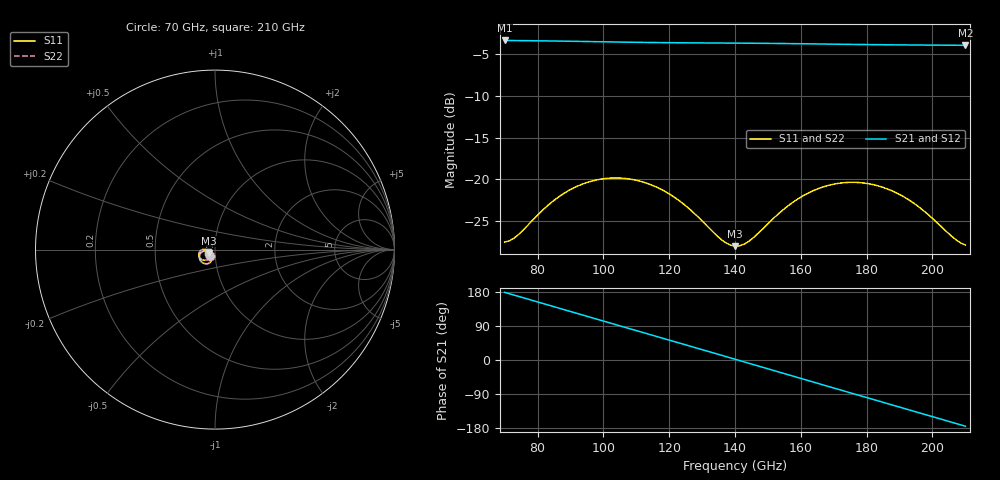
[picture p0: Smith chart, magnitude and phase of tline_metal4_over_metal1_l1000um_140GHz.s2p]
#  GHZ S DB R 50
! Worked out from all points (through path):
!   101 points, 70 GHz to 210 GHz, reference 50 ohm
!   highest |S21| = -3.33 dB at 70 GHz (marker M1); lowest = -3.9 dB at 210 GHz (marker M2)
!   group delay of S21, straight-line fit = 7.01 ps
!   lowest |S11| = -28.0 dB at 140 GHz (marker M3), VSWR 1.08, Z = 46.6 - j1.8 ohm
!   |S11| at or under -10 dB: start of sweep to end of sweep
!   |S22| runs from -28.0 to -19.8 dB; largest |S21 - S12| = 7.8e-14
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70  -27.52 -127.8  -3.33 178.5  -3.33 178.5  -27.53 -127.7
74.2  -26.63 -114.2  -3.35 168.0  -3.35 168.0  -26.63 -114.0
81.2  -23.83 -107.8  -3.38 150.3  -3.38 150.3  -23.82 -107.6
88.2  -21.64 -114.0  -3.42 132.6  -3.42 132.6  -21.63 -113.8
93.8  -20.55 -122.6  -3.45 118.4  -3.45 118.4  -20.53 -122.4
99.4  -19.96 -132.4  -3.49 104.3  -3.49 104.3  -19.95 -132.2
105  -19.84 -142.5  -3.52 90.2  -3.52 90.2  -19.82 -142.3
110.6  -20.16 -152.4  -3.55 76.1  -3.55 76.1  -20.14 -152.2
117.6  -21.21 -163.5  -3.59 58.5  -3.59 58.5  -21.18 -163.3
128.8  -24.52 -172.7  -3.62 30.4  -3.62 30.4  -24.49 -172.4
135.8  -27.22 -164.2  -3.64 12.7  -3.64 12.7  -27.17 -164.0
140  -28.02 -151.0  -3.65 2.1  -3.65 2.1  -27.97 -150.8
144.2  -27.43 -137.2  -3.66 -8.5  -3.66 -8.5  -27.39 -137.1
151.2  -24.87 -127.2  -3.68 -26.3  -3.68 -26.3  -24.84 -127.0
163.8  -21.35 -136.5  -3.74 -58.2  -3.74 -58.2  -21.33 -136.3
169.4  -20.63 -144.6  -3.77 -72.4  -3.77 -72.4  -20.61 -144.4
175  -20.36 -153.5  -3.80 -86.5  -3.80 -86.5  -20.34 -153.2
180.6  -20.52 -162.3  -3.83 -100.6  -3.83 -100.6  -20.50 -162.0
187.6  -21.36 -172.4  -3.85 -118.2  -3.85 -118.2  -21.33 -172.0
198.8  -24.26 178.4  -3.89 -146.5  -3.89 -146.5  -24.22 178.8
204.4  -26.32 -178.1  -3.90 -160.6  -3.90 -160.6  -26.26 -177.6
210  -27.89 -164.7  -3.91 -174.8  -3.91 -174.8  -27.81 -164.3
